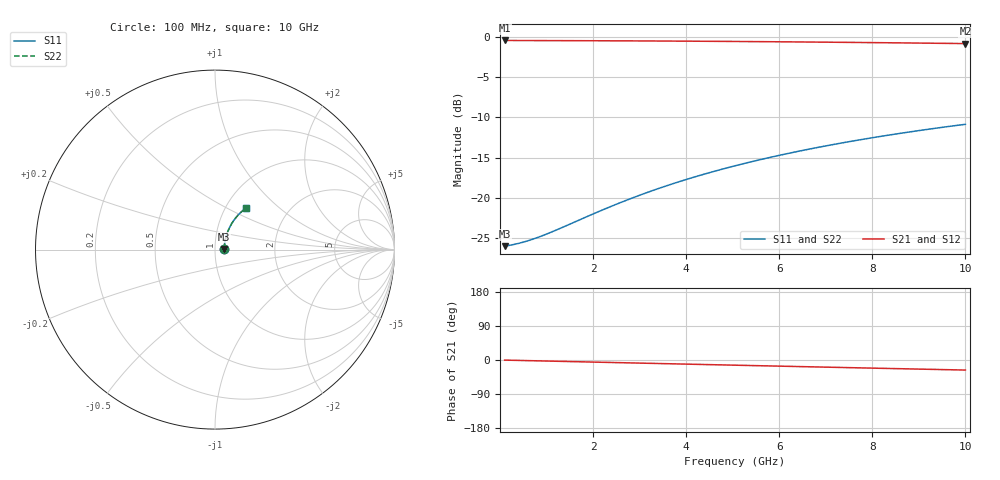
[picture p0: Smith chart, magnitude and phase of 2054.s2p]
# Hz S RI R 50.00
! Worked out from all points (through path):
!   100 points, 100 MHz to 10 GHz, reference 50 ohm
!   highest |S21| = -0.45 dB at 100 MHz (marker M1); lowest = -0.8 dB at 10 GHz (marker M2)
!   group delay of S21, straight-line fit = 7.39 ps
!   lowest |S11| = -26.0 dB at 100 MHz (marker M3), VSWR 1.11, Z = 55.3 + j0.308 ohm
!   |S11| at or under -10 dB: start of sweep to end of sweep
!   |S22| runs from -26.0 to -10.9 dB; largest |S21 - S12| = 0
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1e8  0.0502 0.00278  0.9498 -0.00453  0.9498 -0.00453  0.0502 0.00278
4e8  0.0511 0.0111  0.9489 -0.0181  0.9489 -0.0181  0.0511 0.0111
6e8  0.0517 0.0166  0.9483 -0.0272  0.9483 -0.0272  0.0517 0.0166
8e8  0.0523 0.0221  0.9476 -0.0362  0.9476 -0.0362  0.0523 0.0221
1e9  0.0529 0.0277  0.9469 -0.0452  0.9469 -0.0452  0.0529 0.0277
1.2e9  0.0537 0.0331  0.946 -0.0542  0.946 -0.0542  0.0537 0.0331
1.8e9  0.0565 0.0495  0.943 -0.0811  0.943 -0.0811  0.0565 0.0495
2.2e9  0.0588 0.0603  0.9404 -0.0989  0.9404 -0.0989  0.0588 0.0603
2.6e9  0.0615 0.0709  0.9374 -0.1165  0.9374 -0.1165  0.0615 0.0709
3e9  0.0646 0.0815  0.9339 -0.1341  0.9339 -0.1341  0.0646 0.0815
3.4e9  0.0681 0.0919  0.93 -0.1515  0.93 -0.1515  0.0681 0.0919
3.8e9  0.0719 0.1021  0.9257 -0.1688  0.9257 -0.1688  0.0719 0.1021
4.2e9  0.0762 0.1122  0.921 -0.1858  0.921 -0.1858  0.0762 0.1122
4.6e9  0.0807 0.122  0.9159 -0.2027  0.9159 -0.2027  0.0807 0.122
5.1e9  0.0869 0.134  0.9089 -0.2235  0.9089 -0.2235  0.0869 0.134
5.5e9  0.0922 0.1434  0.9029 -0.24  0.9029 -0.24  0.0922 0.1434
5.9e9  0.0979 0.1525  0.8965 -0.2561  0.8965 -0.2561  0.0979 0.1525
6.7e9  0.1101 0.17  0.8827 -0.2877  0.8827 -0.2877  0.1101 0.17
7.5e9  0.1235 0.1864  0.8675 -0.3182  0.8675 -0.3182  0.1235 0.1864
8.4e9  0.1398 0.2035  0.8489 -0.3511  0.8489 -0.3511  0.1398 0.2035
9.2e9  0.1552 0.2173  0.8312 -0.3791  0.8312 -0.3791  0.1552 0.2173
1e10  0.1713 0.2299  0.8126 -0.4059  0.8126 -0.4059  0.1713 0.2299
